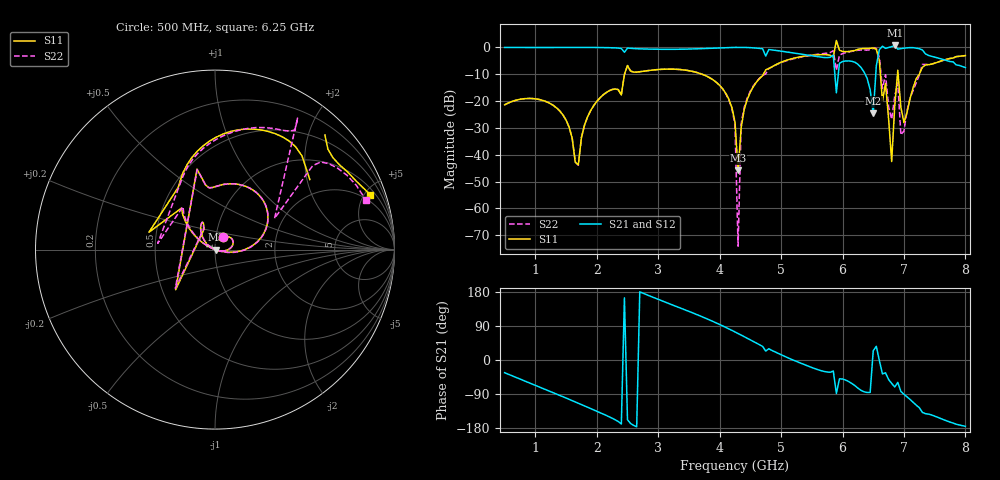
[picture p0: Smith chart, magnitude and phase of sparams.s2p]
! NobuRF pozar-ex3.5-stripline-long: ports 1 "p1", 2 "p2"; 60000 + 60000 steps
# GHz S RI R 50
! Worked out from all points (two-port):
!   151 points, 500 MHz to 8 GHz, reference 50 ohm
!   highest |S21| = 0.75 dB at 6.85 GHz (marker M1); lowest = -24.6 dB at 6.5 GHz (marker M2)
!   |S21| within 3 dB of the highest: start of sweep to 4.732 GHz; 6.588 GHz to 7.344 GHz (756.3 MHz wide, 10.9 % of centre)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
!   lowest |S11| = -45.9 dB at 4.3 GHz (marker M3), VSWR 1.01, Z = 50.5 - j0.122 ohm
!   |S11| at or under -10 dB: start of sweep to 2.451 GHz; 3.712 GHz to 4.712 GHz (1 GHz wide, 23.7 % of centre); 6.905 GHz to 7.25 GHz (344.5 MHz wide, 4.87 % of centre)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
!   |S22| runs from -74.1 to -0.4 dB; largest |S21 - S12| = 0.0061
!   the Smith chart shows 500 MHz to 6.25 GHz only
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0.5  0.0468 0.0707  0.8309 -0.5499  0.8309 -0.5499  0.0468 0.0707
1.75  -0.0184 0.00958  -0.4627 -0.8863  -0.4627 -0.8863  -0.0182 0.00965
2.45  -0.2194 -0.2234  -0.7797 0.2245  -0.7797 0.2245  -0.2211 -0.2158
2.5  -0.1004 0.4482  -0.8972 -0.3688  -0.8972 -0.3688  -0.099 0.4459
3  0.132 0.3631  -0.8668 0.3152  -0.8668 0.3152  0.132 0.3631
4.25  0.0395 -0.0104  0.2738 0.961  0.2738 0.961  0.0348 -0.0106
4.3  0.00493 -0.00121  0.3424 0.9397  0.3424 0.9397  -0.000197 -1.15e-05
4.35  -0.029 0.0132  0.4096 0.9119  0.4097 0.9119  -0.0342 0.016
4.45  -0.0919 0.0567  0.5363 0.8364  0.5363 0.8364  -0.0958 0.0629
5.5  0.2546 0.667  0.657 -0.237  0.6571 -0.2371  0.2305 0.68
5.85  0.5282 0.3906  0.6274 -0.3477  0.6279 -0.3497  0.46 0.7328
5.9  0.8631 1.032  0.00433 -0.1425  0.00783 -0.1375  0.3319 0.1738
6.2  0.7881 0.3804  0.204 -0.4883  0.204 -0.4885  0.7868 0.3585
6.5  0.7927 -0.5708  0.0534 0.0243  0.0536 0.0247  0.8449 -0.4489
6.6  -0.1839 -0.5257  0.9103 -0.0305  0.9106 -0.0308  -0.0611 -0.6452
6.75  -0.0145 -0.0447  0.621 -0.7784  0.6208 -0.7784  -0.0682 -0.0389
6.8  -0.00723 0.00183  0.4878 -0.9082  0.4878 -0.9081  0.000382 0.0457
6.85  -0.0356 0.0722  0.3519 -1.032  0.3521 -1.032  0.0712 0.101
6.9  -0.1178 -0.3553  0.4747 -0.7956  0.4746 -0.7949  -0.2166 0.0111
6.95  0.0194 -0.0737  0.1166 -0.9387  0.1166 -0.9386  -0.0016 -0.0233
7.3  -0.283 0.3159  -0.667 -0.5957  -0.6671 -0.5957  -0.3231 0.3581
8  0.2807 0.6443  -0.4188 -0.0372  -0.4188 -0.0372  0.2807 0.6442
